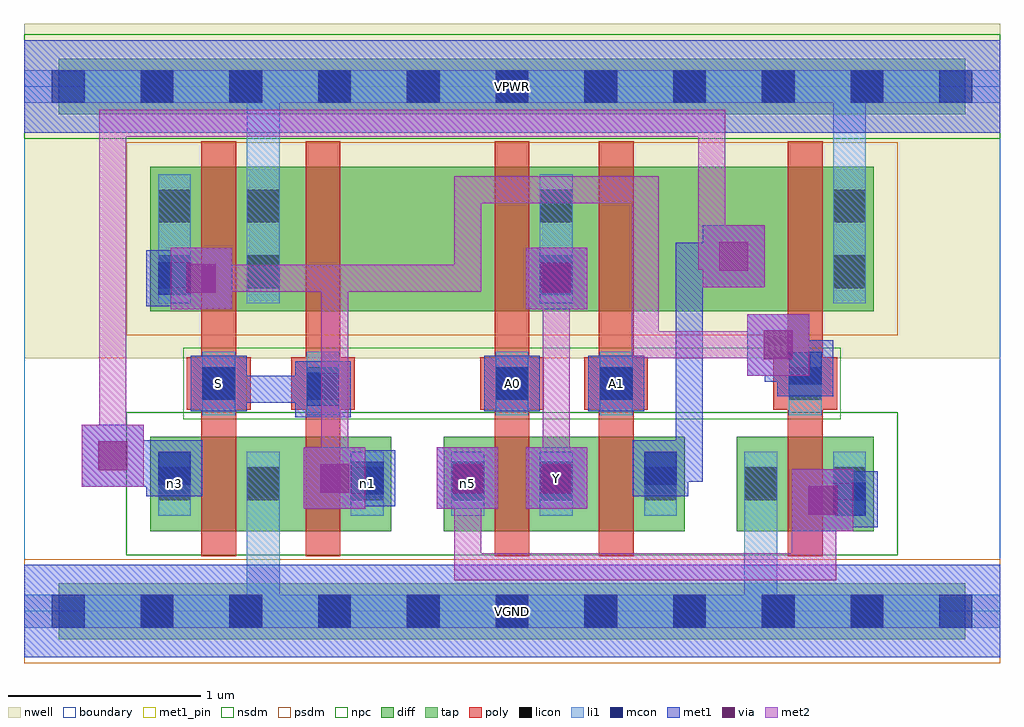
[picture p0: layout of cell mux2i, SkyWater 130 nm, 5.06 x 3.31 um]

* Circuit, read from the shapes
.subckt mux2i A0 A1 S VGND VPWR Y n1 n3 n5
XM1 VGND S n3 VGND sky130_fd_pr__nfet_01v8 w=0.49 l=0.18
XM2 n1 S VGND VGND sky130_fd_pr__nfet_01v8 w=0.49 l=0.18
XM3 Y A0 n5 VGND sky130_fd_pr__nfet_01v8 w=0.49 l=0.18
XM4 n3 A1 Y VGND sky130_fd_pr__nfet_01v8 w=0.49 l=0.18
XM5 n5 n1 VGND VGND sky130_fd_pr__nfet_01v8 w=0.49 l=0.18
XM6 VPWR S n1 VPWR sky130_fd_pr__pfet_01v8 w=0.75 l=0.18
XM7 n2 S VPWR VPWR sky130_fd_pr__pfet_01v8 w=0.75 l=0.18
XM8 Y A0 n2 VPWR sky130_fd_pr__pfet_01v8 w=0.75 l=0.18
XM9 n4 A1 Y VPWR sky130_fd_pr__pfet_01v8 w=0.75 l=0.18
XM10 VPWR n1 n4 VPWR sky130_fd_pr__pfet_01v8 w=0.75 l=0.18
.ends

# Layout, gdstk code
import gdstk
lib = gdstk.Library(unit=1e-6, precision=1e-09)
def R(c, l, rs):  # rectangles x0, y0, x1, y1
    for r in rs: c.add(gdstk.rectangle(r[:2], r[2:], *l))
def A(c, l, x, y, w, h, nx, ny, dx, dy):  # array of equal rectangles
    R(c, l, [(x+i*dx, y+j*dy, x+i*dx+w, y+j*dy+h) for i in range(nx) for j in range(ny)])
nwell = (64, 20)
diff = (65, 20)
tap = (65, 44)
poly = (66, 20)
licon = (66, 44)
li1 = (67, 20)
mcon = (67, 44)
met1_pin = (68, 16)
met1 = (68, 20)
via = (68, 44)
met2 = (69, 20)
nsdm = (93, 44)
psdm = (94, 20)
npc = (95, 20)
boundary = (235, 4)

mux2i = lib.new_cell('mux2i')
R(mux2i, nwell, [(0,1.31,5.06,3.045)])
R(mux2i, diff, [(0.655,0.415,1.905,0.905), (2.175,0.415,3.425,0.905), (3.695,0.415,4.405,0.905), (0.655,1.555,4.405,2.305)])
R(mux2i, tap, [(0.18,-0.145,4.88,0.145), (0.18,2.575,4.88,2.865)])
R(mux2i, poly, [(0.92,0.285,1.1,2.435), (1.46,0.285,1.64,2.435), (2.44,0.285,2.62,2.435), (2.98,0.285,3.16,2.435), (3.96,0.285,4.14,2.435), (0.845,1.045,1.175,1.315), (1.385,1.045,1.715,1.315), (2.365,1.045,2.695,1.315), (2.905,1.045,3.235,1.315), (3.885,1.045,4.215,1.315)])
A(mux2i, licon, 0.605, -0.085, 0.17, 0.17, 9, 2, 0.46, 2.72)
A(mux2i, licon, 1.155, 1.675, 0.17, 0.17, 3, 2, 1.52, 0.34)
R(mux2i, licon, [(0.695,0.575,0.865,0.745), (1.155,0.575,1.325,0.745), (1.695,0.575,1.865,0.745), (2.215,0.575,2.385,0.745), (2.675,0.575,2.845,0.745), (3.215,0.575,3.385,0.745), (3.735,0.575,3.905,0.745), (4.195,0.575,4.365,0.745), (0.925,1.095,1.095,1.265), (1.465,1.095,1.635,1.265), (2.445,1.095,2.615,1.265), (2.985,1.095,3.155,1.265), (3.965,1.095,4.135,1.265), (0.695,1.675,0.865,1.845), (0.695,2.015,0.865,2.185)])
A(mux2i, li1, 1.155, 1.595, 0.17, 0.67, 3, 1, 1.52, 0)
R(mux2i, li1, [(0,-0.085,5.06,0.085), (1.155,-0.085,1.325,0.825), (3.735,-0.085,3.905,0.825), (0.695,0.495,0.865,0.825), (1.155,0.495,1.325,0.825), (1.695,0.495,1.865,0.825), (2.215,0.495,2.385,0.825), (2.675,0.495,2.845,0.825), (3.215,0.495,3.385,0.825), (3.735,0.495,3.905,0.825), (4.195,0.495,4.365,0.825), (0.925,1.015,1.095,1.345), (1.465,1.015,1.635,1.345), (2.445,1.015,2.615,1.345), (2.985,1.015,3.155,1.345), (3.965,1.015,4.135,1.345), (0.695,1.595,0.865,2.265), (1.155,1.595,1.325,2.805), (4.195,1.595,4.365,2.805), (0,2.635,5.06,2.805)])
A(mux2i, mcon, 0.145, -0.085, 0.17, 0.17, 11, 2, 0.46, 2.72)
R(mux2i, mcon, [(4.195,0.495,4.365,0.665), (1.695,0.605,1.865,0.775), (2.215,0.605,2.385,0.775), (2.675,0.605,2.845,0.775), (0.695,0.655,0.865,0.825), (3.215,0.655,3.385,0.825), (1.465,1.065,1.635,1.235), (0.925,1.095,1.095,1.265), (2.445,1.095,2.615,1.265), (2.985,1.095,3.155,1.265), (3.965,1.175,4.135,1.345), (0.695,1.64,0.865,1.81), (2.675,1.64,2.845,1.81)])
R(mux2i, met1_pin, [(0,-0.24,5.06,0.24), (2.6,0.53,2.92,0.85), (0.865,1.035,1.155,1.325), (2.385,1.035,2.675,1.325), (2.925,1.035,3.215,1.325), (0,2.48,5.06,2.96)])
R(mux2i, met1, [(0,-0.24,5.06,0.24), (3.98,0.415,4.3,0.735), (4.135,0.435,4.425,0.725), (4.07,0.505,4.21,0.65), (4.07,0.51,4.35,0.65), (1.45,0.53,1.77,0.85), (2.14,0.53,2.46,0.85), (2.6,0.53,2.92,0.85), (1.635,0.545,1.925,0.835), (2.155,0.545,2.445,0.835), (2.615,0.545,2.905,0.835), (0.635,0.595,0.925,0.885), (3.155,0.595,3.445,0.885), (1.54,0.62,1.85,0.76), (0.3,0.645,0.62,0.965), (0.62,0.645,0.635,0.885), (0.62,0.67,0.85,0.81), (0.62,0.67,0.76,0.875), (3.23,0.67,3.52,0.81), (3.38,0.67,3.52,0.99), (0.39,0.735,0.76,0.875), (3.38,0.85,3.52,1.91), (1.405,1.005,1.695,1.295), (0.865,1.035,1.155,1.325), (2.385,1.035,2.675,1.325), (2.925,1.035,3.215,1.325), (0.965,1.08,1.105,1.22), (0.965,1.08,1.45,1.22), (1.31,1.08,1.62,1.22), (3.905,1.115,4.195,1.405), (3.84,1.19,4.12,1.33), (3.84,1.19,3.98,1.45), (3.75,1.22,4.07,1.54), (0.76,1.565,1.08,1.885), (2.6,1.565,2.92,1.885), (0.635,1.58,0.925,1.87), (2.615,1.58,2.905,1.87), (0.71,1.655,0.99,1.795), (3.52,1.68,3.84,2), (3.38,1.77,3.75,1.91), (0,2.48,5.06,2.96)])
R(mux2i, via, [(4.065,0.5,4.215,0.65), (1.535,0.615,1.685,0.765), (2.225,0.615,2.375,0.765), (2.685,0.615,2.835,0.765), (0.385,0.73,0.535,0.88), (3.835,1.305,3.985,1.455), (0.845,1.65,0.995,1.8), (2.685,1.65,2.835,1.8), (3.605,1.765,3.755,1.915)])
R(mux2i, met2, [(2.23,0.16,2.37,0.76), (2.23,0.16,4.21,0.3), (4.07,0.16,4.21,0.645), (3.98,0.3,4.21,0.415), (3.98,0.415,4.3,0.735), (1.45,0.53,1.77,0.85), (2.14,0.53,2.46,0.85), (2.6,0.53,2.92,0.85), (1.54,0.62,1.68,1.795), (2.69,0.62,2.83,1.795), (0.3,0.645,0.62,0.965), (0.39,0.735,0.53,2.6), (3.75,1.22,4.07,1.54), (3.15,1.31,3.98,1.45), (3.15,1.31,3.29,2.255), (0.76,1.565,1.08,1.885), (2.6,1.565,2.92,1.885), (0.85,1.655,1.68,1.795), (1.54,1.655,2.37,1.795), (2.23,1.655,2.37,2.255), (3.52,1.68,3.84,2), (3.495,1.77,3.635,2.6), (3.495,1.77,3.75,1.91), (2.23,2.115,3.29,2.255), (0.39,2.46,3.635,2.6)])
R(mux2i, nsdm, [(0.53,0.29,4.53,1.03), (0,2.45,5.06,2.99)])
R(mux2i, psdm, [(0,-0.27,5.06,0.27), (0.53,1.43,4.53,2.43)])
R(mux2i, npc, [(0.825,0.995,4.235,1.365)])
R(mux2i, boundary, [(0,0,5.06,2.72)])
mux2i.add(gdstk.Label('n3', (0.78,0.66), layer=67, texttype=5))
mux2i.add(gdstk.Label('n1', (1.78,0.66), layer=67, texttype=5))
mux2i.add(gdstk.Label('n5', (2.3,0.66), layer=67, texttype=5))
mux2i.add(gdstk.Label('A0', (2.53,1.18), layer=68, texttype=5))
mux2i.add(gdstk.Label('A1', (3.07,1.18), layer=68, texttype=5))
mux2i.add(gdstk.Label('S', (1.01,1.18), layer=68, texttype=5))
mux2i.add(gdstk.Label('Y', (2.76,0.69), layer=68, texttype=5))
mux2i.add(gdstk.Label('VPWR', (2.53,2.72), layer=68, texttype=5))
mux2i.add(gdstk.Label('VGND', (2.53,0), layer=68, texttype=5))
mux2i.add(gdstk.Label('A0', (2.53,1.18), layer=68, texttype=16))
mux2i.add(gdstk.Label('A1', (3.07,1.18), layer=68, texttype=16))
mux2i.add(gdstk.Label('S', (1.01,1.18), layer=68, texttype=16))
mux2i.add(gdstk.Label('Y', (2.76,0.69), layer=68, texttype=16))
mux2i.add(gdstk.Label('VPWR', (2.53,2.72), layer=68, texttype=16))
mux2i.add(gdstk.Label('VGND', (2.53,0), layer=68, texttype=16))

lib.write_gds('mux2i.gds')
